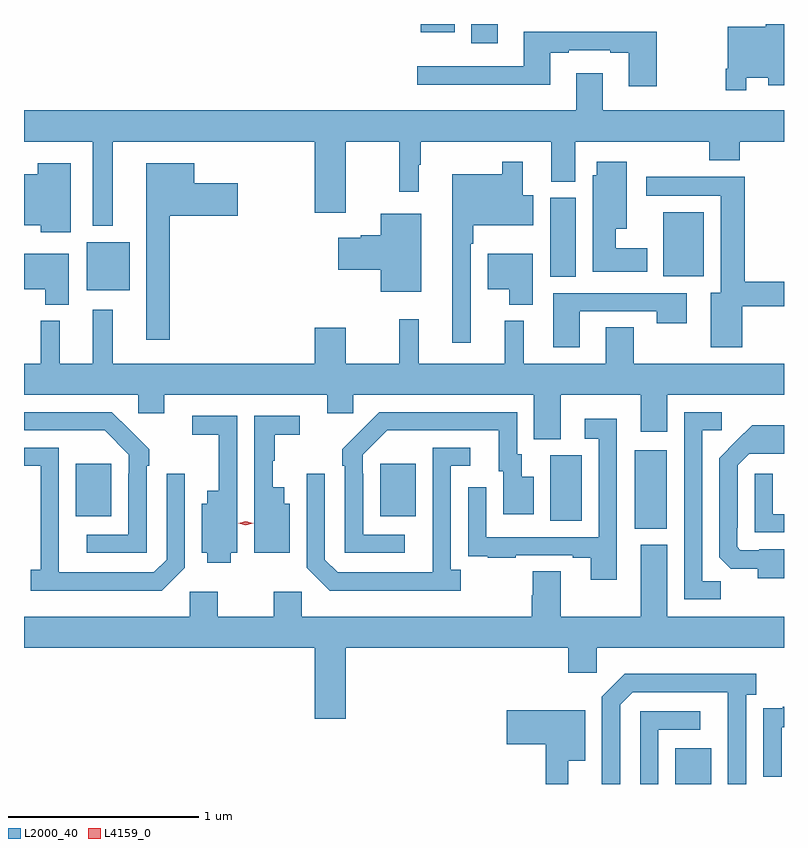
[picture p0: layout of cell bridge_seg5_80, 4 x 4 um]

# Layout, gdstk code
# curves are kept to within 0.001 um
import gdstk
lib = gdstk.Library(unit=1e-6, precision=1e-09)
def R(c, l, rs):  # rectangles x0, y0, x1, y1
    for r in rs: c.add(gdstk.rectangle(r[:2], r[2:], *l))
def P(c, l, *ps):  # polygons
    for p in ps: c.add(gdstk.Polygon(p, *l))
L2000_40 = (2000, 40)
L4159_0 = (4159, 0)

bridge_seg5_80 = lib.new_cell('bridge_seg5_80')
R(bridge_seg5_80, L2000_40, [(130.943,905.327,131.131,905.515), (130.73,906.671,130.897,907.084), (130.286,906.712,130.45,907.056), (127.787,906.737,127.975,907.012), (129.389,906.737,129.577,907.012), (127.844,907.925,128.071,908.179), (130.286,907.996,130.42,908.412), (130.88,908,131.092,908.335), (129.869,909.225,130.009,909.327), (129.602,909.284,129.781,909.327)])
P(bridge_seg5_80, L2000_40, [(131.316,909.044),(131.432,909.044),(131.432,909.005),(131.515,909.005),(131.515,909.327),(131.42,909.327),(131.42,909.313),(131.22,909.313),(131.22,909.091),(131.208,909.091),(131.208,908.979),(131.316,908.979)],
  [(130.845,909.286),(130.145,909.286),(130.145,909.105),(129.585,909.105),(129.585,909.008),(130.285,909.008),(130.285,909.177),(130.381,909.177),(130.381,909.189),(130.601,909.189),(130.601,909.177),(130.697,909.177),(130.697,909),(130.845,909)],
  [(127.981,908.708),(129.044,908.708),(129.044,908.334),(129.208,908.334),(129.208,908.708),(129.49,908.708),(129.49,908.445),(129.592,908.445),(129.592,908.585),(129.604,908.585),(129.604,908.708),(130.289,908.708),(130.289,908.497),(130.417,908.497),(130.417,908.708),(131.122,908.708),(131.122,908.609),(131.282,908.609),(131.282,908.708),(131.515,908.708),(131.515,908.872),(130.561,908.872),(130.561,909.067),(130.421,909.067),(130.421,908.872),(127.515,908.872),(127.515,908.708),(127.877,908.708),(127.877,908.264),(127.981,908.264)],
  [(130.795,908.146),(130.63,908.146),(130.63,908.249),(130.687,908.249),(130.687,908.602),(130.529,908.602),(130.529,908.532),(130.508,908.532),(130.508,908.024),(130.795,908.024)],
  [(129.867,908.171),(129.88,908.171),(129.88,908.267),(130.195,908.267),(130.195,908.425),(130.141,908.425),(130.141,908.602),(130.032,908.602),(130.032,908.536),(129.77,908.536),(129.77,907.65),(129.867,907.65)],
  [(127.762,908.593),(127.587,908.593),(127.587,908.536),(127.515,908.536),(127.515,908.267),(127.604,908.267),(127.604,908.231),(127.762,908.231)],
  [(128.281,908.318),(128.641,908.318),(128.641,908.488),(128.41,908.488),(128.41,908.593),(128.159,908.593),(128.159,907.665),(128.281,907.665)],
  [(131.296,907.842),(131.515,907.842),(131.515,907.97),(131.309,907.97),(131.309,908.522),(130.791,908.522),(130.791,908.424),(131.183,908.424),(131.183,907.912),(131.129,907.912),(131.129,907.626),(131.296,907.626)],
  [(129.607,908.329),(129.392,908.329),(129.392,908.216),(129.288,908.216),(129.288,908.203),(129.168,908.203),(129.168,908.033),(129.392,908.033),(129.392,907.919),(129.607,907.919)],
  [(127.75,908.119),(127.515,908.119),(127.515,907.931),(127.628,907.931),(127.628,907.85),(127.75,907.85)],
  [(130.192,908.119),(129.956,908.119),(129.956,907.931),(130.07,907.931),(130.07,907.85),(130.192,907.85)],
  [(130.441,907.815),(130.846,907.815),(130.846,907.752),(131.002,907.752),(131.002,907.911),(130.301,907.911),(130.301,907.626),(130.441,907.626)],
  [(130.339,907.376),(130.76,907.376),(130.76,907.182),(130.9,907.182),(130.9,907.376),(131.515,907.376),(131.515,907.54),(130.725,907.54),(130.725,907.73),(130.577,907.73),(130.577,907.54),(130.144,907.54),(130.144,907.765),(130.046,907.765),(130.046,907.54),(129.593,907.54),(129.593,907.774),(129.49,907.774),(129.49,907.54),(129.208,907.54),(129.208,907.729),(129.044,907.729),(129.044,907.54),(127.981,907.54),(127.981,907.822),(127.877,907.822),(127.877,907.54),(127.702,907.54),(127.702,907.765),(127.604,907.765),(127.604,907.54),(127.515,907.54),(127.515,907.376),(128.115,907.376),(128.115,907.278),(128.254,907.278),(128.254,907.376),(129.11,907.376),(129.11,907.278),(129.249,907.278),(129.249,907.376),(130.199,907.376),(130.199,907.141),(130.339,907.141)],
  [(128.16,907.001),(128.175,907.001),(128.175,907.089),(127.978,907.284),(127.515,907.284),(127.515,907.188),(127.939,907.188),(128.067,907.059),(128.067,906.959),(128.064,906.959),(128.064,906.639),(127.845,906.639),(127.845,906.543),(128.16,906.543)],
  [(131.181,906.395),(131.085,906.395),(131.085,907.188),(131.188,907.188),(131.188,907.284),(130.989,907.284),(130.989,906.3),(131.181,906.3)],
  [(129.52,906.639),(129.3,906.639),(129.3,906.959),(129.297,906.959),(129.297,907.059),(129.426,907.188),(130.013,907.188),(130.013,906.972),(130.037,906.972),(130.037,906.747),(130.198,906.747),(130.198,906.943),(130.135,906.943),(130.135,907.062),(130.11,907.062),(130.11,907.284),(129.386,907.284),(129.189,907.089),(129.189,907.001),(129.204,907.001),(129.204,906.543),(129.52,906.543)],
  [(128.914,906.802),(128.884,906.802),(128.884,906.889),(128.825,906.889),(128.825,907.029),(128.836,907.029),(128.836,907.165),(128.965,907.165),(128.965,907.266),(128.727,907.266),(128.727,906.785),(128.726,906.785),(128.726,906.545),(128.914,906.545)],
  [(128.602,906.545),(128.638,906.545),(128.638,906.767),(128.637,906.767),(128.637,907.266),(128.4,907.266),(128.4,907.165),(128.54,907.165),(128.54,906.871),(128.48,906.871),(128.48,906.802),(128.45,906.802),(128.45,906.545),(128.48,906.545),(128.48,906.491),(128.602,906.491)],
  [(130.635,907.249),(130.467,907.249),(130.467,907.143),(130.539,907.143),(130.539,906.627),(129.948,906.627),(129.948,906.889),(129.852,906.889),(129.852,906.634),(129.853,906.634),(129.853,906.525),(129.955,906.525),(129.955,906.519),(130.103,906.519),(130.103,906.531),(130.403,906.531),(130.403,906.519),(130.499,906.519),(130.499,906.402),(130.635,906.402)],
  [(131.515,906.562),(131.386,906.562),(131.386,906.558),(131.286,906.558),(131.268,906.576),(131.268,906.676),(131.271,906.676),(131.271,907.005),(131.331,907.065),(131.515,907.064),(131.515,907.216),(131.347,907.216),(131.175,907.042),(131.175,906.52),(131.234,906.461),(131.378,906.461),(131.378,906.41),(131.515,906.41)],
  [(128.361,906.465),(128.361,906.961),(128.265,906.961),(128.265,906.507),(128.199,906.441),(127.699,906.441),(127.698,907.098),(127.515,907.098),(127.515,907.002),(127.602,907.002),(127.602,906.454),(127.551,906.454),(127.551,906.344),(128.24,906.344)],
  [(129.814,906.454),(129.762,906.454),(129.762,907.002),(129.864,907.002),(129.864,907.098),(129.666,907.098),(129.665,906.441),(129.165,906.441),(129.099,906.507),(129.099,906.961),(129.003,906.961),(129.003,906.465),(129.124,906.344),(129.814,906.344)],
  [(131.515,906.747),(131.457,906.747),(131.457,906.961),(131.361,906.961),(131.361,906.651),(131.515,906.651)],
  [(129.208,906.044),(130.379,906.044),(130.379,905.913),(130.53,905.913),(130.53,906.044),(131.515,906.044),(131.515,906.208),(130.9,906.208),(130.9,906.586),(130.76,906.586),(130.76,906.208),(130.339,906.208),(130.339,906.446),(130.192,906.446),(130.192,906.321),(130.187,906.321),(130.187,906.208),(128.976,906.208),(128.976,906.34),(128.83,906.34),(128.83,906.208),(128.535,906.208),(128.535,906.34),(128.388,906.34),(128.388,906.208),(127.515,906.208),(127.515,906.044),(129.044,906.044),(129.044,905.67),(129.208,905.67)],
  [(130.653,905.745),(130.719,905.811),(131.219,905.811),(131.22,905.327),(131.316,905.327),(131.316,905.798),(131.368,905.798),(131.368,905.908),(130.678,905.908),(130.557,905.787),(130.557,905.327),(130.653,905.327)],
  [(131.502,905.625),(131.515,905.625),(131.515,905.734),(131.509,905.734),(131.509,905.727),(131.407,905.727),(131.407,905.618),(131.406,905.618),(131.406,905.364),(131.502,905.364)],
  [(130.379,905.45),(130.468,905.45),(130.468,905.715),(130.056,905.715),(130.056,905.537),(130.261,905.537),(130.261,905.327),(130.379,905.327)],
  [(130.854,905.613),(131.074,905.613),(131.074,905.709),(130.758,905.709),(130.758,905.327),(130.854,905.327)])
P(bridge_seg5_80, L4159_0, [(128.682,906.69),(128.642,906.699),(128.642,906.699),(128.642,906.699),(128.682,906.71),(128.722,906.7),(128.722,906.7),(128.722,906.7)])

lib.write_gds('bridge_seg5_80.gds')
